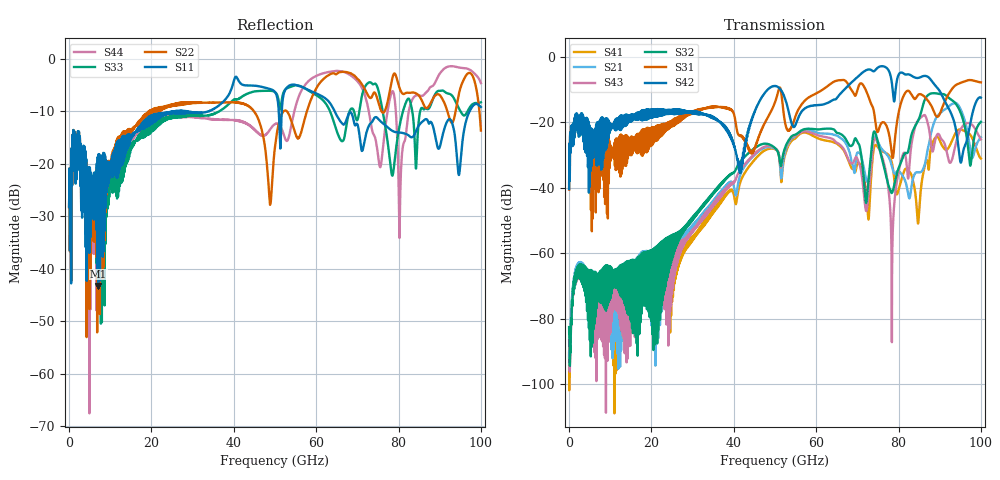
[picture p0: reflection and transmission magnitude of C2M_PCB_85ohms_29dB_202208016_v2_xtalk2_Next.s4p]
! Info: Touchstone file created by Circ.  Input file=Intel_C2M_200G_13p0in_202208016_staggered.circ
# Hz S RI R 50
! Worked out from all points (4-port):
!   10000 points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, 10 MHz to 100 GHz, reference 50 ohm
!   strongest paths, dB at 10 MHz, 25.01 GHz, 50.01 GHz, 75.01 GHz, 100 GHz:
!     S42: -40.3, -16.4, -8.9, -3.3, -12.5
!     S31: -40.5, -19.9, -13.8, -22.9, -7.8
!     S32: -82.5, -61.2, -27.9, -26.1, -19.9
!     S43: -86.4, -67.9, -27.9, -26.7, -25.2
!     S21: -91.9, -62.3, -28.1, -26.0, -24.6
!     S41: -90.2, -70.4, -28.2, -27.6, -31.0
!   lowest |S11| = -43.3 dB at 7.06 GHz (marker M1), VSWR 1.01, Z = 50.6 - j0.323 ohm
!   |S11| at or under -10 dB: start of sweep to 25.4 GHz; 28.63 GHz to 33.76 GHz (5.127 GHz wide, 16.4 % of centre); 64.5 GHz to 97.26 GHz (32.76 GHz wide, 40.5 % of centre)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
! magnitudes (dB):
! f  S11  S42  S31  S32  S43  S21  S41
! 10 MHz  -28.2  -40.3  -40.5  -82.5  -86.4  -91.9  -90.2
! 7.06 GHz  -43.3  -20.8  -23.5  -69.1  -75.1  -71.6  -75.3
! 56.48 GHz  -5.4  -16.7  -14.6  -22.5  -23.0  -22.5  -23.2
! 74.52 GHz  -11.1  -3.9  -21.1  -23.7  -25.2  -24.6  -27.0
! 78.43 GHz  -13.7  -8.4  -30.1  -41.5  -66.7  -33.6  -32.7
! 85.12 GHz  -12.5  -6.3  -11.4  -18.4  -18.9  -35.3  -44.8
! 100 GHz  -9.2  -12.5  -7.8  -19.9  -25.2  -24.6  -31.0
